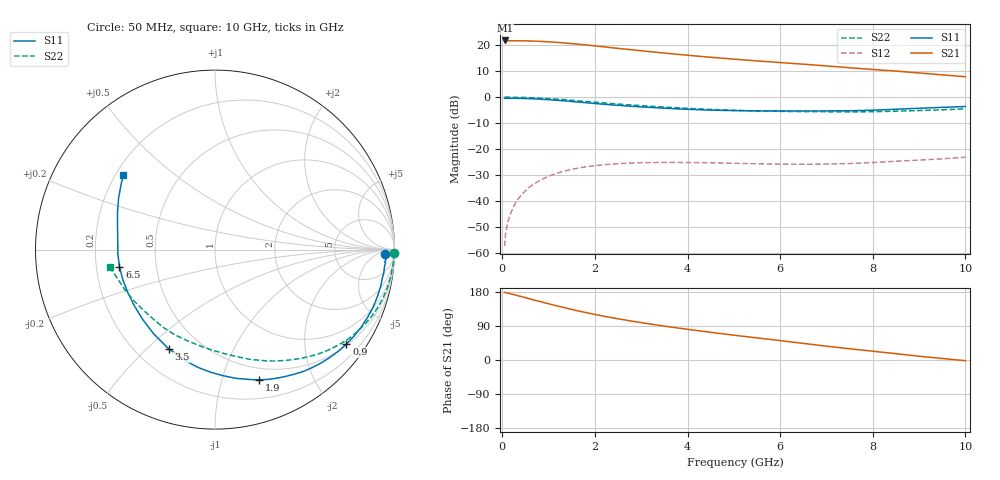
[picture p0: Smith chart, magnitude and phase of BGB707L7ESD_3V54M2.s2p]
!  Infineon Technologies AG
!  BGB707L7ESD
!  Vce = 3.5V, Ic = 4.2mA
!  DATUM: 30.06.2009 10:56:55
# GHz  S  MA  R  50
!f  S11  S21  S12  S22
!GHz  Mag  Ang  Mag  Ang  Mag  Ang  Mag  Ang
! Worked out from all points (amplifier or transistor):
!   52 points, 50 MHz to 10 GHz, reference 50 ohm
!   highest |S21| = 21.8 dB at 60 MHz (marker M1)
!   |S21| within 3 dB of that: start of sweep to 2.469 GHz
!   unconditionally stable (mu >= 1): 6.5 GHz to 9.988 GHz
!   at 130 MHz: K = 0.05, MSG = 34.7 dB, |S12| = -47.5 dB
!   at 1.4 GHz: K = 0.13, MSG = 24.5 dB, |S12| = -28.3 dB
!   at 10 GHz: K = 1.00, MSG = 15.5 dB, |S12| = -23.2 dB
!   S11 on the Smith chart (normalised r, x): 50 MHz: 29, -16; 900 MHz: 0.54, -3.02; 1.9 GHz: 0.38, -1.32; 3.5 GHz: 0.33, -0.58; 6.5 GHz: 0.30, -0.08; 10 GHz: 0.23, +0.34
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0.05  0.949 -1.6  12.13 178.5  0.001334 89.5  0.9969 -1.1
0.06  0.9527 -2.4  12.35 178.2  0.001765 80.3  0.9973 -1.5
0.08  0.9495 -2.9  12.14 177.4  0.002531 87.0  0.9972 -2.1
0.09  0.9534 -3.7  12.24 177.7  0.002835 81.6  0.9971 -2.3
0.1  0.9471 -4.1  12.17 176.8  0.00323 83.2  0.9967 -2.6
0.2  0.9489 -8.1  12.22 174.1  0.006311 83.7  0.9948 -5.4
0.5  0.9373 -20.0  12.13 164.5  0.01569 76.9  0.9811 -13.3
0.9  0.9014 -35.7  11.74 151.6  0.02707 67.3  0.9458 -23.7
1.3  0.8506 -50.8  11.14 139.3  0.03656 57.9  0.8958 -33.5
1.6  0.8066 -61.4  10.54 130.6  0.0421 51.6  0.8528 -40.2
1.8  0.78 -68.1  10.13 125.3  0.04516 47.8  0.8245 -44.3
1.9  0.7655 -71.3  9.913 122.6  0.04645 46.0  0.8101 -46.3
2.2  0.7266 -80.8  9.302 115.4  0.04962 41.1  0.77 -52.0
2.6  0.6831 -92.2  8.496 106.7  0.05252 35.7  0.7228 -58.9
3  0.6466 -102.9  7.812 98.6  0.05416 31.3  0.6831 -65.2
3.5  0.61 -115.1  7.055 89.4  0.05495 27.0  0.6415 -72.4
4.5  0.5602 -135.9  5.852 73.1  0.05399 22.2  0.5788 -85.8
5.5  0.5413 -154.0  4.984 58.3  0.05176 21.7  0.5405 -100.1
6.5  0.5409 -169.9  4.309 43.8  0.0507 25.3  0.5247 -115.4
7  0.5416 -177.6  3.989 36.5  0.05103 27.8  0.5205 -123.6
8.5  0.5822 158.9  3.167 16.6  0.0579 35.2  0.5345 -147.8
10  0.6583 140.9  2.471 -1.9  0.06925 38.3  0.5938 -170.5
